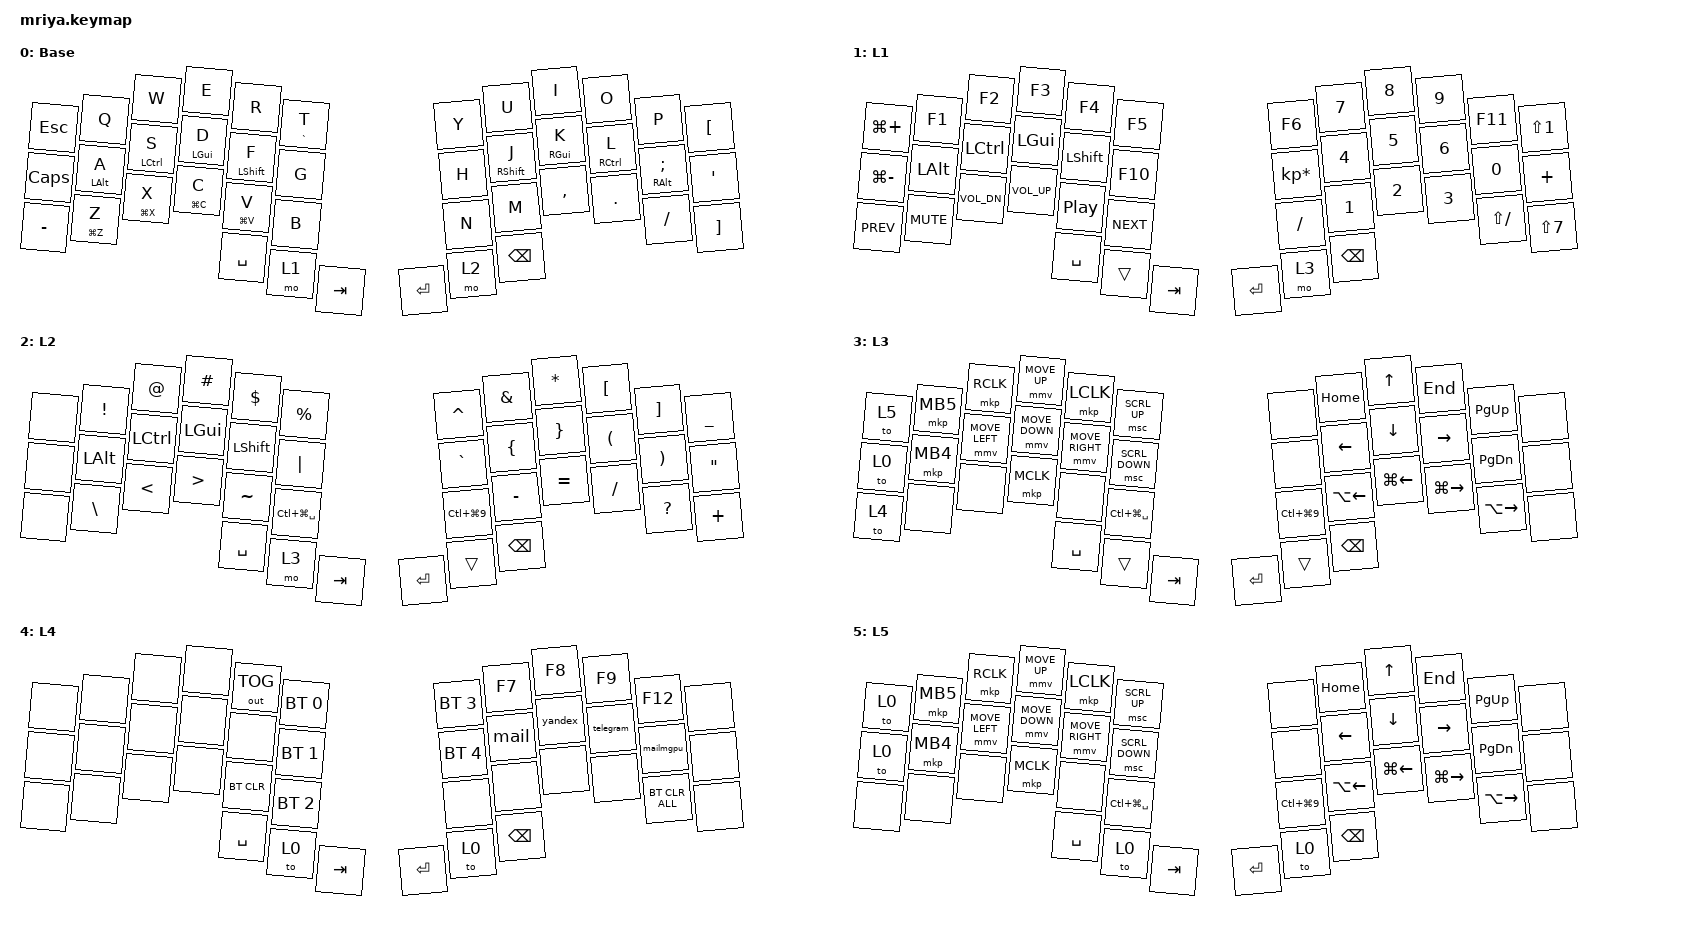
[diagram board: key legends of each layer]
// Mriya 42-key keymap — migrated from SWIPe (cradio) with Mac optimization.
// 5 layers, bilateral HRM, mouse keys, BT profiles, macros.

#include <behaviors/mouse_keys.dtsi>
#include <dt-bindings/zmk/mouse.h>
#include <behaviors.dtsi>
#include <dt-bindings/zmk/bt.h>
#include <dt-bindings/zmk/keys.h>
#include <dt-bindings/zmk/pointing.h>
#include <dt-bindings/zmk/ext_power.h>
#include <dt-bindings/zmk/outputs.h>

// Key positions (Mriya 42-key):
//   0  1  2  3  4  5      6  7  8  9 10 11
//  12 13 14 15 16 17     18 19 20 21 22 23
//  24 25 26 27 28 29     30 31 32 33 34 35
//           36 37 38     39 40 41

#define LEFT_KEYS  0  1  2  3  4  5 12 13 14 15 16 17 24 25 26 27 28 29 36 37 38
#define RIGHT_KEYS 6  7  8  9 10 11 18 19 20 21 22 23 30 31 32 33 34 35 39 40 41

#define HYPER LC(LS(LA(LGUI)))

/ {
    behaviors {
        // Left home row — tap-preferred (Alt, Cmd)
        lhm: left_home_mod {
            compatible = "zmk,behavior-hold-tap";
            #binding-cells = <2>;
            flavor = "tap-preferred";
            tapping-term-ms = <280>;
            quick-tap-ms = <175>;
            require-prior-idle-ms = <200>;
            bindings = <&kp>, <&kp>;
            hold-trigger-key-positions = <RIGHT_KEYS>;
            hold-trigger-on-release;
        };

        // Right home row — tap-preferred (Cmd, Alt)
        rhm: right_home_mod {
            compatible = "zmk,behavior-hold-tap";
            #binding-cells = <2>;
            flavor = "tap-preferred";
            tapping-term-ms = <280>;
            quick-tap-ms = <175>;
            require-prior-idle-ms = <200>;
            bindings = <&kp>, <&kp>;
            hold-trigger-key-positions = <LEFT_KEYS>;
            hold-trigger-on-release;
        };

        // Left home row — balanced (Ctrl, Shift)
        lhm_hp: left_home_mod_hp {
            compatible = "zmk,behavior-hold-tap";
            #binding-cells = <2>;
            flavor = "balanced";
            tapping-term-ms = <230>;
            quick-tap-ms = <175>;
            require-prior-idle-ms = <200>;
            bindings = <&kp>, <&kp>;
            hold-trigger-key-positions = <RIGHT_KEYS>;
            hold-trigger-on-release;
        };

        // Right home row — balanced (Shift, Ctrl)
        rhm_hp: right_home_mod_hp {
            compatible = "zmk,behavior-hold-tap";
            #binding-cells = <2>;
            flavor = "balanced";
            tapping-term-ms = <230>;
            quick-tap-ms = <175>;
            require-prior-idle-ms = <200>;
            bindings = <&kp>, <&kp>;
            hold-trigger-key-positions = <LEFT_KEYS>;
            hold-trigger-on-release;
        };

        // Hold-tap for ё/T and Cmd+shortcuts on bottom row
        ht: hold_tap {
            compatible = "zmk,behavior-hold-tap";
            #binding-cells = <2>;
            flavor = "tap-preferred";
            tapping-term-ms = <200>;
            quick-tap-ms = <150>;
            require-prior-idle-ms = <100>;
            bindings = <&kp>, <&kp>;
        };
    };

    macros {
        mail: mail {
            compatible = "zmk,behavior-macro";
            #binding-cells = <0>;
            bindings = <&kp M &kp A &kp I &kp L &kp AT &kp R &kp U &kp S &kp L &kp A &kp N &kp DOT &kp C &kp C>;
            label = "MAIL";
        };

        mailmgpu: mailmgpu {
            compatible = "zmk,behavior-macro";
            #binding-cells = <0>;
            bindings = <&kp S &kp U &kp L &kp E &kp J &kp M &kp A &kp N &kp O &kp V &kp R &kp S &kp AT &kp M &kp G &kp P &kp U &kp DOT &kp R &kp U>;
            label = "MAILMGPU";
        };

        telegram: telegram {
            compatible = "zmk,behavior-macro";
            #binding-cells = <0>;
            bindings = <&kp H &kp T &kp T &kp P &kp S &kp COLON &kp FSLH &kp FSLH &kp T &kp DOT &kp M &kp E &kp FSLH &kp LS(R) &kp U &kp S &kp L &kp A &kp N &kp LS(C) &kp LS(C)>;
            label = "TELEGRAM";
        };

        yandex: yandex {
            compatible = "zmk,behavior-macro";
            #binding-cells = <0>;
            bindings = <&kp B &kp E &kp C &kp K &kp MINUS &kp M &kp C &kp S &kp AT &kp Y &kp A &kp DOT &kp R &kp U>;
            label = "YANDEX";
        };
    };

    keymap {
        compatible = "zmk,keymap";

        default_layer {
            display-name = "Base";
// ┌──────┬──────┬──────┬──────┬──────┬──────┐     ┌──────┬──────┬──────┬──────┬──────┬──────┐
// │ Esc  │  Q   │  W   │  E   │  R   │T/`   │     │  Y   │  U   │  I   │  O   │  P   │ [ /Х │
// ├──────┼──────┼──────┼──────┼──────┼──────┤     ├──────┼──────┼──────┼──────┼──────┼──────┤
// │ Caps │A/Alt │S/Ctl │D/Cmd │F/Sft │  G   │     │  H   │J/Sft │K/Cmd │L/Ctl │;/Alt │ ' /Э │
// ├──────┼──────┼──────┼──────┼──────┼──────┤     ├──────┼──────┼──────┼──────┼──────┼──────┤
// │  -   │Z/⌘Z  │X/⌘X  │C/⌘C  │V/⌘V  │  B   │     │  N   │  M   │  ,   │  .   │  /   │ ] /Ъ │
// └──────┴──────┴──────┴──┬───┴──┬───┴──┬───┘     └──┬───┴──┬───┴──┬───┴──────┴──────┴──────┘
//                         │Space │ L1   │ Tab  │     │ Ret  │ L2   │Bspc  │
//                         └──────┴──────┴──────┘     └──────┴──────┴──────┘
            bindings = <
&kp ESC    &kp Q        &kp W        &kp E            &kp R            &ht GRAVE T       &kp Y             &kp U            &kp I            &kp O        &kp P           &kp LBKT
&kp CAPS   &lhm LALT A  &lhm_hp LCTRL S  &lhm LGUI D  &lhm_hp LSHFT F  &kp G             &kp H             &rhm_hp RSHFT J  &rhm RGUI K  &rhm_hp RCTRL L  &rhm RALT SEMI  &kp SQT
&kp MINUS  &ht LG(Z) Z  &ht LG(X) X  &ht LG(C) C      &ht LG(V) V      &kp B             &kp N             &kp M            &kp COMMA        &kp DOT      &kp FSLH        &kp RBKT
                                     &kp SPACE        &mo 1            &kp TAB           &kp RET           &mo 2            &kp BSPC
            >;
        };

        layer_1 {
            display-name = "L1";
// NUMBERS / MEDIA / F-KEYS
// ┌──────┬──────┬──────┬──────┬──────┬──────┐     ┌──────┬──────┬──────┬──────┬──────┬──────┐
// │⌘+    │ F1   │ F2   │ F3   │ F4   │ F5   │     │ F6   │  7   │  8   │  9   │ F11  │!(ru) │
// ├──────┼──────┼──────┼──────┼──────┼──────┤     ├──────┼──────┼──────┼──────┼──────┼──────┤
// │⌘-    │ Alt  │ Ctrl │ Cmd  │ Shift│ F10  │     │  *   │  4   │  5   │  6   │  0   │  +   │
// ├──────┼──────┼──────┼──────┼──────┼──────┤     ├──────┼──────┼──────┼──────┼──────┼──────┤
// │Prev  │Mute  │Vol-  │Vol+  │Play  │Next  │     │  /   │  1   │  2   │  3   │,(ru) │?(ru) │
// └──────┴──────┴──────┴──┬───┴──┬───┴──┬───┘     └──┬───┴──┬───┴──┬───┴──────┴──────┴──────┘
//                         │Space │Trns  │ Tab  │     │ Ret  │ L3   │Bspc  │
//                         └──────┴──────┴──────┘     └──────┴──────┴──────┘
            bindings = <
&kp LG(PLUS)   &kp F1      &kp F2        &kp F3        &kp F4        &kp F5      &kp F6       &kp N7  &kp N8  &kp N9     &kp F11  &kp LS(N1)
&kp LG(MINUS)  &kp LALT    &kp LCTRL     &kp LGUI      &kp LSHFT     &kp F10     &kp KP_ASTERISK  &kp N4  &kp N5  &kp N6     &kp N0   &kp PLUS
&kp C_PREV     &kp C_MUTE  &kp C_VOL_DN  &kp C_VOL_UP  &kp C_PP      &kp C_NEXT  &kp FSLH     &kp N1  &kp N2  &kp N3     &kp LS(FSLH) &kp LS(N7)
                                  &kp SPACE     &trans        &kp TAB     &kp RET      &mo 3   &kp BSPC
            >;
        };

        layer_2 {
            display-name = "L2";
// SYMBOLS
// ┌──────┬──────┬──────┬──────┬──────┬──────┐     ┌──────┬──────┬──────┬──────┬──────┬──────┐
// │      │  !   │  @   │  #   │  $   │  %   │     │  ^   │  &   │  *   │  [   │  ]   │  _   │
// ├──────┼──────┼──────┼──────┼──────┼──────┤     ├──────┼──────┼──────┼──────┼──────┼──────┤
// │      │ Alt  │ Ctrl │ Cmd  │ Shift│  |   │     │  `   │  {   │  }   │  (   │  )   │  "   │
// ├──────┼──────┼──────┼──────┼──────┼──────┤     ├──────┼──────┼──────┼──────┼──────┼──────┤
// │      │  \   │  <   │  >   │  ~   │ 😀   │     │ Scrn │  -   │  =   │  /   │  ?   │  +   │
// └──────┴──────┴──────┴──┬───┴──┬───┴──┬───┘     └──┬───┴──┬───┴──┬───┴──────┴──────┴──────┘
//                         │Space │ L3   │ Tab  │     │ Ret  │Trns  │Bspc  │
//                         └──────┴──────┴──────┘     └──────┴──────┴──────┘
// (№ = ⌘⇧3 в русской раскладке macOS)
            bindings = <
&none   &kp EXCL   &kp AT     &kp HASH   &kp DLLR    &kp PRCNT    &kp CARET      &kp AMPS   &kp ASTRK  &kp LBKT  &kp RBKT   &kp UNDER
&none   &kp LALT   &kp LCTRL  &kp LGUI   &kp LSHFT   &kp PIPE     &kp GRAVE      &kp LBRC   &kp RBRC   &kp LPAR  &kp RPAR      &kp DQT
&none   &kp BSLH   &kp LT     &kp GT     &kp TILDE   &kp LC(LG(SPACE)) &kp LC(LG(N9)) &kp MINUS  &kp EQUAL  &kp FSLH  &kp QMARK  &kp PLUS
                              &kp SPACE  &mo 3       &kp TAB      &kp RET        &trans     &kp BSPC
            >;
        };

        layer_3 {
            display-name = "L3";
// MOUSE (left) / NAVIGATION (right)
// ┌──────┬──────┬──────┬──────┬──────┬──────┐     ┌──────┬──────┬──────┬──────┬──────┬──────┐
// │ToL5  │ MB5  │RClk  │ M↑   │LClk  │Scr↑  │     │      │Home  │ ↑    │End   │PgUp  │      │
// ├──────┼──────┼──────┼──────┼──────┼──────┤     ├──────┼──────┼──────┼──────┼──────┼──────┤
// │ToL0  │ MB4  │ M←   │ M↓   │ M→   │Scr↓  │     │      │ ←    │ ↓    │ →    │PgDn  │      │
// ├──────┼──────┼──────┼──────┼──────┼──────┤     ├──────┼──────┼──────┼──────┼──────┼──────┤
// │ToL4  │      │      │MClk  │      │ 😀   │     │ Scrn │⌥←    │⌘←    │⌘→    │⌥→    │      │
// └──────┴──────┴──────┴──┬───┴──┬───┴──┬───┘     └──┬───┴──┬───┴──┬───┴──────┴──────┴──────┘
//                         │Space │Trns  │ Tab  │     │ Ret  │Trns  │Bspc  │
//                         └──────┴──────┴──────┘     └──────┴──────┴──────┘
            bindings = <
&to 5   &mkp MB5    &mkp RCLK     &mmv MOVE_UP     &mkp LCLK      &msc SCRL_UP     &none   &kp HOME       &kp UP        &kp END          &kp PG_UP     &none
&to 0   &mkp MB4    &mmv MOVE_LEFT  &mmv MOVE_DOWN &mmv MOVE_RIGHT &msc SCRL_DOWN  &none   &kp LEFT       &kp DOWN      &kp RIGHT        &kp PG_DN     &none
&to 4   &none       &none         &mkp MCLK        &none          &kp LC(LG(SPACE)) &kp LC(LG(N9))  &kp LA(LEFT)   &kp LG(LEFT)  &kp LG(RIGHT)    &kp LA(RIGHT) &none
                                  &kp SPACE        &trans         &kp TAB          &kp RET &trans         &kp BSPC
            >;
        };

        layer_4 {
            display-name = "L4";
// SYSTEM / BLUETOOTH / MACROS
// ┌──────┬──────┬──────┬──────┬──────┬──────┐     ┌──────┬──────┬──────┬──────┬──────┬──────┐
// │      │      │      │      │OutTg │ BT1  │     │ BT4  │ F7   │ F8   │ F9   │ F12  │      │
// ├──────┼──────┼──────┼──────┼──────┼──────┤     ├──────┼──────┼──────┼──────┼──────┼──────┤
// │      │      │      │      │      │ BT2  │     │ BT5  │📧mail│📧ya  │📧tg  │📧mgpu│      │
// ├──────┼──────┼──────┼──────┼──────┼──────┤     ├──────┼──────┼──────┼──────┼──────┼──────┤
// │      │      │      │      │BTclr │ BT3  │     │      │      │      │      │BTclrA│      │
// └──────┴──────┴──────┴──┬───┴──┬───┴──┬───┘     └──┬───┴──┬───┴──┬───┴──────┴──────┴──────┘
//                         │Space │ToL0  │ Tab  │     │ Ret  │ToL0  │Bspc  │
//                         └──────┴──────┴──────┘     └──────┴──────┴──────┘
            bindings = <
&none       &none        &none  &none  &out OUT_TOG &bt BT_SEL 0      &bt BT_SEL 3  &kp F7      &kp F8      &kp F9         &kp F12         &none
&none       &none        &none  &none  &none        &bt BT_SEL 1      &bt BT_SEL 4  &mail       &yandex     &telegram      &mailmgpu       &none
&none       &none        &none  &none  &bt BT_CLR   &bt BT_SEL 2      &none         &none       &none       &none          &bt BT_CLR_ALL  &none
                                &kp SPACE &to 0     &kp TAB           &kp RET       &to 0       &kp BSPC
            >;
        };

        layer_5 {
            display-name = "L5";
// MOUSE (left) / NAVIGATION (right) — постоянная копия L3
// ┌──────┬──────┬──────┬──────┬──────┬──────┐     ┌──────┬──────┬──────┬──────┬──────┬──────┐
// │ToL0  │ MB5  │RClk  │ M↑   │LClk  │Scr↑  │     │      │Home  │ ↑    │End   │PgUp  │      │
// ├──────┼──────┼──────┼──────┼──────┼──────┤     ├──────┼──────┼──────┼──────┼──────┼──────┤
// │ToL0  │ MB4  │ M←   │ M↓   │ M→   │Scr↓  │     │      │ ←    │ ↓    │ →    │PgDn  │      │
// ├──────┼──────┼──────┼──────┼──────┼──────┤     ├──────┼──────┼──────┼──────┼──────┼──────┤
// │      │      │      │MClk  │      │ 😀   │     │ Scrn │⌥←    │⌘←    │⌘→    │⌥→    │      │
// └──────┴──────┴──────┴──┬───┴──┬───┴──┬───┘     └──┬───┴──┬───┴──┬───┴──────┴──────┴──────┘
//                         │Space │ToL0  │ Tab  │     │ Ret  │ToL0  │Bspc  │
//                         └──────┴──────┴──────┘     └──────┴──────┴──────┘
            bindings = <
&to 0   &mkp MB5    &mkp RCLK     &mmv MOVE_UP     &mkp LCLK      &msc SCRL_UP     &none   &kp HOME       &kp UP        &kp END          &kp PG_UP     &none
&to 0   &mkp MB4    &mmv MOVE_LEFT  &mmv MOVE_DOWN &mmv MOVE_RIGHT &msc SCRL_DOWN  &none   &kp LEFT       &kp DOWN      &kp RIGHT        &kp PG_DN     &none
&none   &none       &none         &mkp MCLK        &none          &kp LC(LG(SPACE)) &kp LC(LG(N9))  &kp LA(LEFT)   &kp LG(LEFT)  &kp LG(RIGHT)    &kp LA(RIGHT) &none
                                  &kp SPACE        &to 0          &kp TAB          &kp RET &to 0          &kp BSPC
            >;
        };
    };
};
